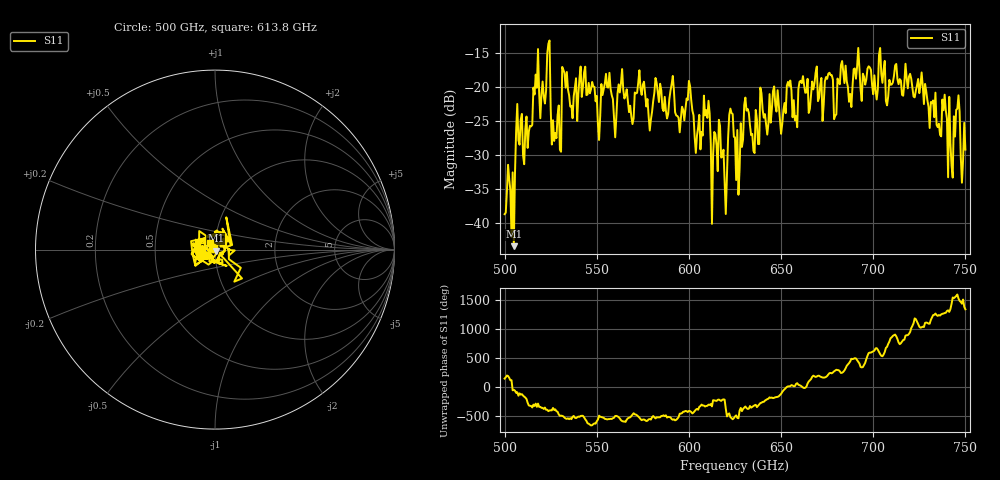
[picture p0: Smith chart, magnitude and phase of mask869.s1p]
!Created with skrf (http://scikit-rf.org).
# GHz S MA R 50.0
!freq magS11 angS11
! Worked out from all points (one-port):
!   401 points, 500 GHz to 750 GHz, reference 50 ohm
!   lowest |S11| = -43.4 dB at 505 GHz (marker M1), VSWR 1.01, Z = 50.4 - j0.537 ohm
!   |S11| at or under -10 dB: start of sweep to end of sweep
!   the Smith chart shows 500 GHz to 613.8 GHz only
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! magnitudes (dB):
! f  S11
! 500 GHz  -38.7
! 505 GHz  -43.4
! 507.5 GHz  -27.9
! 513.8 GHz  -25.7
! 516.9 GHz  -18.2
! 520.6 GHz  -19.2
! 523.8 GHz  -13.6
! 526.9 GHz  -27.9
! 531.2 GHz  -17.0
! 532.5 GHz  -17.9
! 550.6 GHz  -25.4
! 562.5 GHz  -20.8
! 568.8 GHz  -24.3
! 571.9 GHz  -20.8
! 590.6 GHz  -19.6
! 593.8 GHz  -24.3
! 609.4 GHz  -23.4
! 619.4 GHz  -34.0
! 622.5 GHz  -23.2
! 625 GHz  -27.4
! 656.2 GHz  -24.4
! 676.2 GHz  -17.9
! 680 GHz  -24.0
! 683.8 GHz  -17.7
! 687.5 GHz  -21.0
! 690.6 GHz  -18.8
! 718.8 GHz  -20.2
! 750 GHz  -29.2
